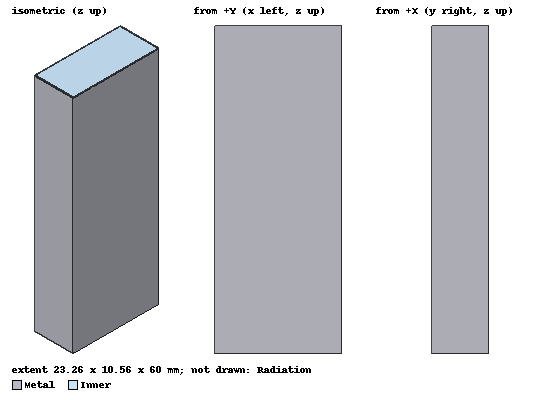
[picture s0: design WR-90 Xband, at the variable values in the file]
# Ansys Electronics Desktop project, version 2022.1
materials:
  aluminum: permeability=1.000021 conductivity=38000000
  vacuum: permittivity=1

design WR-90 Xband (HFSS, DrivenModal, model units mm)
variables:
  a = 0.9in
  b = 0.4in
  L = 60mm
  th = 0.2mm
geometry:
  Inner [vacuum] = box(corner=(-a/2, -b/2, 0mm), size=(a, b, L))
  Metal [aluminum] = box(corner=(-a/2-th, -b/2-th, 0mm), size=(a+2*th, b+2*th, L))
  Radiation [vacuum] = box(corner=(-a/2 -5mm, -b/2-5mm, 0mm), size=(a+10mm, b+10mm, L))
  Inner_1 = Inner.copy()
  Metal.subtract(Inner_1)
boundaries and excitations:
  Rad1: Radiation Objects=Radiation
  1: Wave Port Faces=Inner.face(+z) NumModes=3 Modes{Mode1{IntLine{(0, 5.08, 60) -> (0, -5.08, 60)} CharImp=Zpi} Mode2{CharImp=Zpi} Mode3{CharImp=Zpi}}
  2: Wave Port Faces=Inner.face(-z) NumModes=3 Modes{Mode1{IntLine{(0, 5.08, 0) -> (0, -5.08, 0)} CharImp=Zpi} Mode2{CharImp=Zpi} Mode3{CharImp=Zpi}}
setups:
  Setup1: HfssDriven Frequency=12.4GHz MaxDeltaS=0.02 MaximumPasses=12 MinimumPasses=1 MinimumConvergedPasses=1 PercentRefinement=30 BasisOrder=1 PortAccuracy=2 DrivenSolverType="Direct Solver"
    sweep Sweep: 5GHz to 15GHz step 0.01GHz; Type=Fast SaveFields
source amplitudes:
  1:1: 1W 0deg
  1:2, 1:3, 2:1, 2:2, 2:3: 0W 0deg
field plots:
  Vector_E1: E Field over Metal.face(all 10) on Setup1 : LastAdaptive at Freq=12.4GHz Phase=0deg
  Mag_E1: E Field in Inner on Setup1 : LastAdaptive at Freq=12.4GHz Phase=0deg
  Mag_Jsurf1: Jsurf over Inner.face(+y, +x, -y, -x, +z) on Setup1 : LastAdaptive at Freq=12.4GHz Phase=0deg
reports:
  Port Zo Plot 1: re(Zo(1)), mag(Zo(1)), im(Zo(1)) vs Freq on Setup1 : Sweep
  Gamma Plot 1: im(Gamma(2:1)), im(Gamma(2:2)), im(Gamma(2:3)) vs Freq on Setup1 : Sweep
